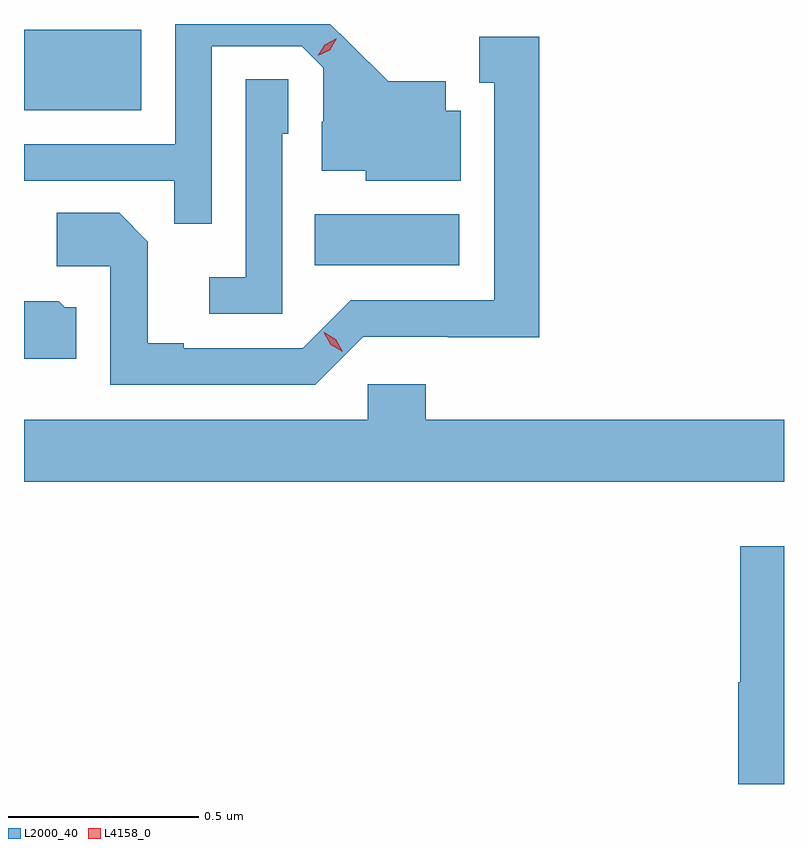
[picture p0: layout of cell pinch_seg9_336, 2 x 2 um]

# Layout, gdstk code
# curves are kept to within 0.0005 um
import gdstk
lib = gdstk.Library(unit=1e-6, precision=1e-09)
def R(c, l, rs):  # rectangles x0, y0, x1, y1
    for r in rs: c.add(gdstk.rectangle(r[:2], r[2:], *l))
def P(c, l, *ps):  # polygons
    for p in ps: c.add(gdstk.Polygon(p, *l))
L2000_40 = (2000, 40)
L4158_0 = (4158, 0)

pinch_seg9_336 = lib.new_cell('pinch_seg9_336')
R(pinch_seg9_336, L2000_40, [(598.906,1190.33,599.287,1190.464), (598.141,1190.738,598.45,1190.95)])
P(pinch_seg9_336, L2000_40, [(598.635,1190.907),(598.872,1190.907),(598.929,1190.85),(598.929,1190.708),(598.925,1190.708),(598.925,1190.579),(599.04,1190.579),(599.04,1190.552),(599.29,1190.552),(599.29,1190.737),(599.251,1190.737),(599.251,1190.815),(599.099,1190.815),(598.947,1190.965),(598.539,1190.965),(598.539,1190.649),(598.141,1190.649),(598.141,1190.553),(598.537,1190.553),(598.537,1190.44),(598.635,1190.44)],
  [(599.034,1190.142),(599.256,1190.142),(599.256,1190.141),(599.497,1190.141),(599.497,1190.932),(599.339,1190.932),(599.339,1190.811),(599.378,1190.811),(599.378,1190.238),(599.001,1190.238),(598.875,1190.112),(598.561,1190.112),(598.561,1190.125),(598.467,1190.125),(598.467,1190.392),(598.391,1190.468),(598.227,1190.468),(598.227,1190.328),(598.368,1190.328),(598.368,1190.016),(598.908,1190.016)],
  [(598.821,1190.676),(598.836,1190.676),(598.836,1190.819),(598.725,1190.819),(598.725,1190.299),(598.629,1190.299),(598.629,1190.202),(598.821,1190.202)],
  [(598.279,1190.22),(598.248,1190.22),(598.232,1190.236),(598.141,1190.236),(598.141,1190.084),(598.279,1190.084)],
  [(600.141,1189.924),(599.198,1189.924),(599.198,1190.017),(599.046,1190.017),(599.046,1189.924),(598.141,1189.924),(598.141,1189.76),(600.141,1189.76)],
  [(600.141,1189.591),(600.026,1189.591),(600.026,1189.233),(600.02,1189.233),(600.02,1188.965),(600.141,1188.965)])
P(pinch_seg9_336, L4158_0, [(598.98,1190.102),(598.948,1190.121),(598.93,1190.154),(598.93,1190.154),(598.931,1190.154),(598.962,1190.135),(598.98,1190.103),(598.98,1190.102)],
  [(598.914,1190.882),(598.914,1190.882),(598.932,1190.911),(598.962,1190.926),(598.963,1190.926),(598.963,1190.925),(598.945,1190.896),(598.914,1190.882)])

lib.write_gds('pinch_seg9_336.gds')
